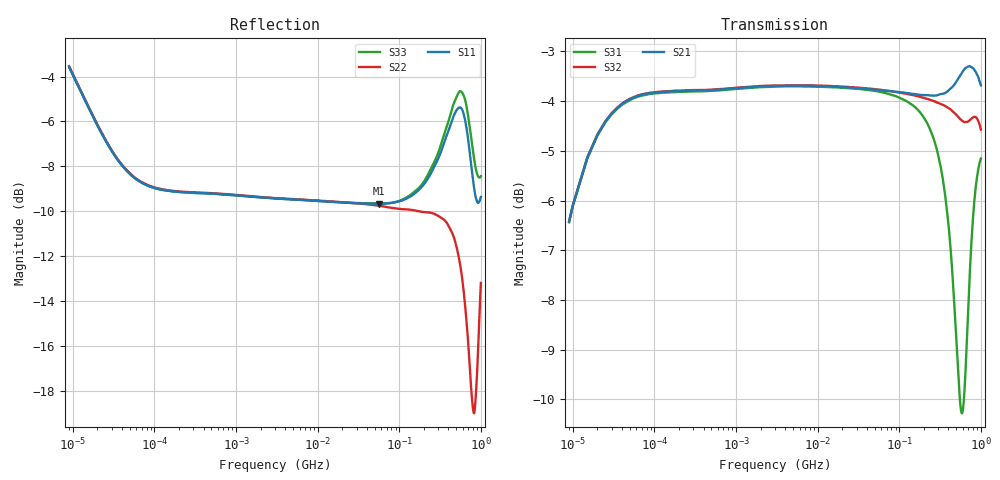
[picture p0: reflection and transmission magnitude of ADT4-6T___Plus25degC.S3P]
!MINI CIRCUITS LABORATORY
!MODEL:ADT4-6T
!RUN/LOT/DATE CODE:MB37660/0721
!FIXTURE USED:90-2-20-204
!CONNECTION:PORT1-PIN1,PORT2-PIN4,PORT3-PIN6, PIN 3&5- GND.
!Date: Fri Dec 14 11:12:22 2007
# Hz S dB R 50
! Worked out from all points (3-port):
!   797 points, 9 kHz to 1 GHz, reference 50 ohm
!   strongest paths, dB at 9 kHz, 101.5 MHz, 201 MHz, 302 MHz, 1 GHz:
!     S21: -6.4, -3.8, -3.9, -3.9, -3.7
!     S32: -6.4, -3.8, -3.9, -4.0, -4.6
!     S31: -6.4, -3.9, -4.3, -5.1, -5.2
!   lowest |S11| = -9.7 dB at 56 MHz (marker M1), VSWR 1.98, Z = 25.8 + j6.07 ohm
!   |S11| at or under -10 dB: nowhere
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9000  -3.57 155.4  -6.46 -144.3  -6.43 35.6
      -6.42 -144.4  -3.53 155.2  -6.42 -144.3
      -6.44 35.7  -6.42 -144.3  -3.56 155.3
4000000  -9.45 177.4  -3.69 179.5  -3.71 -0.5
         -3.69 179.5  -9.44 177.4  -3.69 179.5
         -3.70 -0.5  -3.68 179.5  -9.46 177.3
5.6e7  -9.67 161.4  -3.77 170.9  -3.81 -9.2
       -3.78 170.9  -9.75 160.6  -3.77 170.2
       -3.81 -9.2  -3.77 170.2  -9.66 160.3
1.875e8  -8.92 123.3  -3.87 151.1  -4.27 -30.9
         -3.87 151.1  -10.03 120.7  -3.93 148.8
         -4.26 -30.9  -3.92 148.8  -8.83 120.0
3.56e8  -6.93 75.5  -3.84 126.4  -5.76 -68.1
        -3.84 126.4  -10.39 73.8  -4.09 122.0
        -5.76 -68.1  -4.09 122.1  -6.56 70.3
4.54e8  -5.84 44.4  -3.70 111.9  -7.63 -102.9
        -3.70 111.9  -11.04 48.0  -4.21 106.8
        -7.63 -102.9  -4.21 106.8  -5.31 38.4
5.55e8  -5.37 6.3  -3.49 96.3  -10.03 -162.5
        -3.49 96.3  -12.35 20.8  -4.35 91.5
        -10.03 -162.5  -4.36 91.6  -4.65 -0.3
7.3e8  -7.39 -70.6  -3.30 67.3  -7.50 84.0
       -3.30 67.2  -16.92 -40.9  -4.39 66.1
       -7.49 84.0  -4.38 66.1  -6.25 -77.7
8.4e8  -9.15 -120.7  -3.38 48.9  -5.93 47.6
       -3.38 48.8  -18.87 -111.1  -4.32 48.7
       -5.93 47.7  -4.31 48.8  -7.84 -125.6
1e9  -9.36 174.6  -3.68 22.6  -5.16 16.2
     -3.68 22.5  -13.20 166.8  -4.57 22.1
     -5.15 16.3  -4.57 22.2  -8.44 173.5
